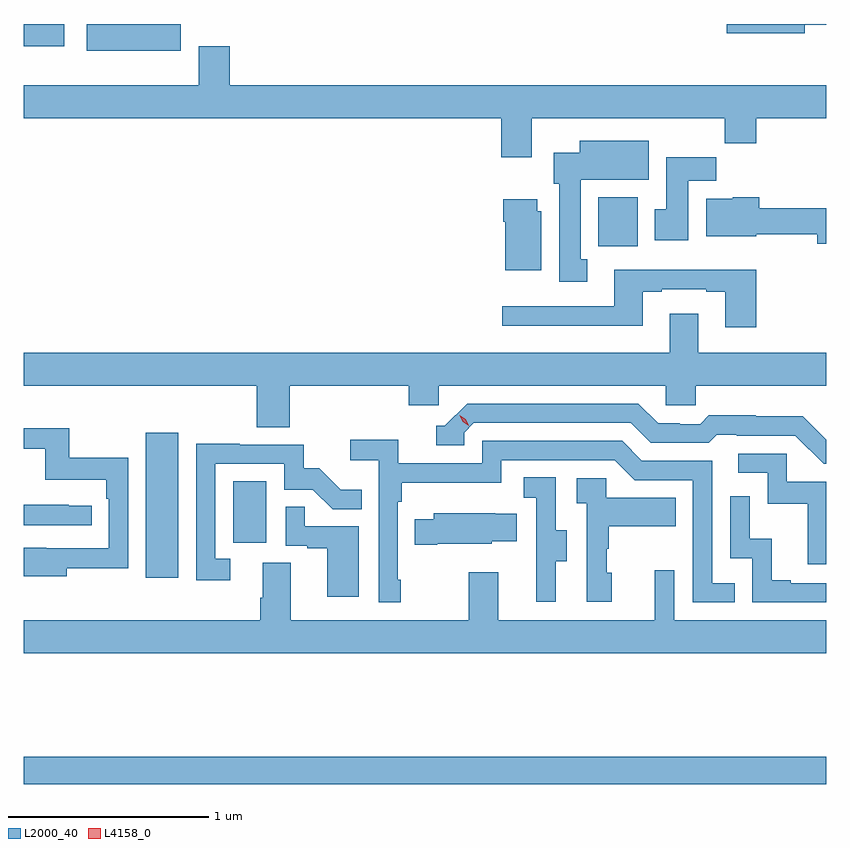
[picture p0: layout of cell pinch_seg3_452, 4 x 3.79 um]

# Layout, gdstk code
import gdstk
lib = gdstk.Library(unit=1e-6, precision=1e-09)
def R(c, l, rs):  # rectangles x0, y0, x1, y1
    for r in rs: c.add(gdstk.rectangle(r[:2], r[2:], *l))
def P(c, l, *ps):  # polygons
    for p in ps: c.add(gdstk.Polygon(p, *l))
L2000_40 = (2000, 40)
L4158_0 = (4158, 0)

pinch_seg3_452 = lib.new_cell('pinch_seg3_452')
R(pinch_seg3_452, L2000_40, [(912.415,672.292,916.415,672.428), (913.025,673.32,913.186,674.041), (913.46,673.494,913.624,673.801), (915.278,674.972,915.475,675.214), (912.729,675.944,913.198,676.078), (912.415,675.966,912.619,676.078)])
P(pinch_seg3_452, L2000_40, [(916.306,676.074),(916.415,676.074),(916.415,676.078),(915.918,676.078),(915.918,676.031),(916.306,676.031)],
  [(914.947,675.608),(915.907,675.608),(915.907,675.484),(916.064,675.484),(916.064,675.608),(916.415,675.608),(916.415,675.772),(913.442,675.772),(913.442,675.967),(913.289,675.967),(913.289,675.772),(912.415,675.772),(912.415,675.608),(914.795,675.608),(914.795,675.414),(914.947,675.414)],
  [(915.223,674.906),(915.19,674.906),(915.19,675.302),(915.529,675.302),(915.529,675.496),(915.185,675.496),(915.185,675.436),(915.056,675.436),(915.056,675.282),(915.083,675.282),(915.083,674.793),(915.223,674.793)],
  [(915.727,675.296),(915.866,675.296),(915.866,675.414),(915.617,675.414),(915.617,675.156),(915.56,675.156),(915.56,675),(915.727,675)],
  [(916.415,675.16),(916.079,675.16),(916.079,675.214),(915.948,675.214),(915.948,675.208),(915.815,675.208),(915.815,675.02),(916.066,675.02),(916.066,675.031),(916.37,675.031),(916.37,674.984),(916.415,674.984)],
  [(914.995,675.144),(914.974,675.144),(914.974,675.205),(914.804,675.205),(914.804,675.092),(914.816,675.092),(914.816,674.852),(914.995,674.852)],
  [(916.064,674.854),(915.359,674.854),(915.359,674.673),(914.799,674.673),(914.799,674.576),(915.499,674.576),(915.499,674.745),(915.595,674.745),(915.595,674.757),(915.815,674.757),(915.815,674.745),(915.911,674.745),(915.911,674.568),(916.064,674.568)],
  [(913.742,674.276),(914.333,674.276),(914.333,674.178),(914.484,674.178),(914.484,674.276),(915.615,674.276),(915.615,674.178),(915.765,674.178),(915.765,674.276),(916.415,674.276),(916.415,674.44),(915.775,674.44),(915.775,674.635),(915.635,674.635),(915.635,674.44),(912.415,674.44),(912.415,674.276),(913.577,674.276),(913.577,674.068),(913.742,674.068)],
  [(916.415,674.008),(916.298,674.125),(916.062,674.125),(916.062,674.128),(915.829,674.128),(915.787,674.085),(915.684,674.085),(915.684,674.088),(915.577,674.088),(915.478,674.187),(914.625,674.187),(914.514,674.076),(914.471,674.076),(914.471,673.98),(914.61,673.98),(914.61,674.043),(914.658,674.091),(915.441,674.091),(915.54,673.992),(915.829,673.992),(915.868,674.031),(915.967,674.031),(915.967,674.028),(916.26,674.028),(916.401,673.887),(916.415,673.887)],
  [(912.631,673.366),(912.936,673.366),(912.936,673.918),(912.643,673.918),(912.643,674.064),(912.415,674.064),(912.415,673.963),(912.522,673.963),(912.522,673.808),(912.827,673.808),(912.827,673.712),(912.84,673.712),(912.84,673.467),(912.527,673.467),(912.527,673.468),(912.415,673.468),(912.415,673.328),(912.631,673.328)],
  [(914.293,673.309),(914.28,673.309),(914.28,673.697),(914.3,673.697),(914.3,673.793),(914.796,673.793),(914.796,673.905),(915.36,673.905),(915.459,673.806),(915.75,673.806),(915.75,673.197),(915.959,673.197),(915.959,673.293),(915.846,673.293),(915.846,673.902),(915.496,673.902),(915.397,674.001),(914.7,674.001),(914.7,673.89),(914.282,673.89),(914.282,674.006),(914.043,674.006),(914.043,673.904),(914.184,673.904),(914.184,673.197),(914.293,673.197)],
  [(913.444,673.413),(913.371,673.413),(913.371,673.887),(913.713,673.887),(913.713,673.758),(913.857,673.758),(913.955,673.66),(914.099,673.66),(914.099,673.759),(913.995,673.759),(913.888,673.866),(913.812,673.866),(913.812,673.983),(913.493,673.983),(913.493,673.988),(913.275,673.988),(913.275,673.308),(913.444,673.308)],
  [(916.415,673.797),(916.218,673.797),(916.218,673.938),(915.975,673.938),(915.975,673.842),(916.122,673.842),(916.122,673.689),(916.321,673.689),(916.321,673.386),(916.415,673.386)],
  [(915.067,673.402),(915.121,673.402),(915.121,673.557),(915.066,673.557),(915.066,673.82),(914.907,673.82),(914.907,673.717),(914.97,673.717),(914.97,673.413),(914.969,673.413),(914.969,673.2),(915.067,673.2)],
  [(915.346,673.344),(915.321,673.344),(915.321,673.463),(915.331,673.463),(915.331,673.577),(915.665,673.577),(915.665,673.717),(915.318,673.717),(915.318,673.815),(915.171,673.815),(915.171,673.691),(915.222,673.691),(915.222,673.2),(915.346,673.2)],
  [(916.415,673.293),(916.237,673.293),(916.237,673.306),(916.142,673.306),(916.142,673.514),(916.032,673.514),(916.032,673.726),(915.936,673.726),(915.936,673.416),(916.044,673.416),(916.044,673.197),(916.415,673.197)],
  [(912.754,673.677),(912.641,673.677),(912.641,673.682),(912.415,673.682),(912.415,673.581),(912.754,673.581)],
  [(914.086,673.575),(913.817,673.575),(913.817,673.673),(913.722,673.673),(913.722,673.479),(913.829,673.479),(913.829,673.467),(913.928,673.467),(913.928,673.224),(914.086,673.224)],
  [(914.476,673.49),(914.748,673.49),(914.748,673.502),(914.873,673.502),(914.873,673.639),(914.765,673.639),(914.765,673.642),(914.459,673.642),(914.459,673.612),(914.365,673.612),(914.365,673.483),(914.476,673.483)],
  [(916.415,673.108),(915.657,673.108),(915.657,673.357),(915.56,673.357),(915.56,673.108),(914.779,673.108),(914.779,673.348),(914.632,673.348),(914.632,673.108),(913.747,673.108),(913.747,673.394),(913.607,673.394),(913.607,673.22),(913.595,673.22),(913.595,673.108),(912.415,673.108),(912.415,672.944),(916.415,672.944)])
P(pinch_seg3_452, L4158_0, [(914.634,674.077),(914.603,674.097),(914.587,674.129),(914.587,674.13),(914.588,674.13),(914.618,674.11),(914.634,674.077),(914.634,674.077)])

lib.write_gds('pinch_seg3_452.gds')
